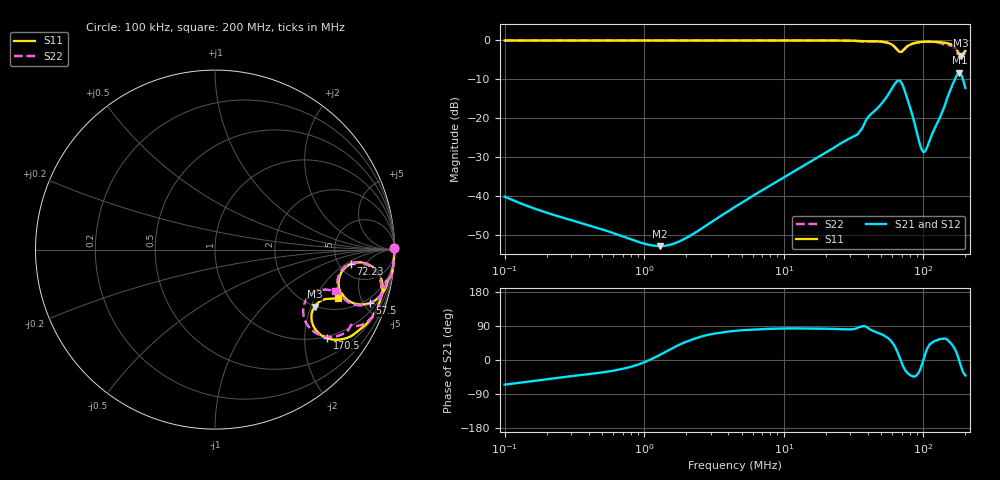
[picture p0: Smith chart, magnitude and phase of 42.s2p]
#  HZ  S  RI  R  50.00
! Rohde & Schwarz Vector Network Analyzer
! Rohde-Schwarz,ZNLE6-2Port,1323001256200024,1.71.1.10-23.02.1.238
! Created: UTC 4/7/2025, 3:17:45 AM
! freq[Hz]  re:S11  im:S11  re:S21  im:S21  re:S12  im:S12  re:S22  im:S22
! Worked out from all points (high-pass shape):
!   1001 points, 100 kHz to 200 MHz, reference 50 ohm
!   highest |S21| = -8.25 dB at 181.2 MHz (marker M1); lowest = -52.9 dB at 1.296 MHz (marker M2)
!   |S21| within 3 dB of the highest: 62.21 MHz to 70.51 MHz (8.296 MHz wide, 12.5 % of centre); 162.4 MHz to 196.4 MHz (34.07 MHz wide, 19 % of centre)
!   lowest |S11| = -3.9 dB at 185.4 MHz (marker M3), VSWR 4.54, Z = 98.9 - j106 ohm
!   |S11| at or under -10 dB: nowhere
!   |S22| runs from -4.7 to 0.0 dB; largest |S21 - S12| = 0.01
!   S11 on the Smith chart (normalised r, x): 100 kHz: open; 57.5 MHz: 1.55, -5.51; 72.23 MHz: 6.37, -2.44; 170.5 MHz: 0.95, -2.57; 200 MHz: 2.63, -3.14
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100000  0.996 0.00869  0.00415 -0.00889  0.00417 -0.00891  0.996 0.0086
355854.1  0.9965 0.00193  0.00347 -0.00285  0.00347 -0.00286  0.9967 0.00188
1266322  0.9978 -0.00358  0.00223 0.000459  0.00223 0.000457  0.9979 -0.00384
1295529  0.9978 -0.0037  0.00221 0.000531  0.00222 0.000531  0.9979 -0.00398
1923538  0.998 -0.00677  0.00195 0.00199  0.00195 0.002  0.9982 -0.00712
4472136  0.9981 -0.0186  0.00166 0.00708  0.00172 0.00705  0.9983 -0.0194
1.591428e7  0.9954 -0.068  0.00343 0.0282  0.00366 0.0281  0.9954 -0.0716
3.351876e7  0.9754 -0.1563  0.0064 0.0612  0.0065 0.0609  0.9664 -0.1657
4.754834e7  0.9439 -0.2267  0.0441 0.1309  0.0466 0.1293  0.9413 -0.2256
5.663162e7  0.8735 -0.2938  0.1167 0.1723  0.12 0.1689  0.87 -0.296
5.74991e7  0.8614 -0.2989  0.1288 0.1751  0.1321 0.1715  0.8576 -0.3013
6.592947e7  0.6987 -0.2381  0.2912 0.0881  0.2946 0.0788  0.6922 -0.237
7.222574e7  0.7555 -0.0808  0.2331 -0.0826  0.2313 -0.0882  0.7485 -0.0806
8.156587e7  0.887 -0.1031  0.0948 -0.0829  0.0929 -0.0858  0.8813 -0.1066
9.495745e7  0.9329 -0.197  0.0407 -0.0186  0.0404 -0.0198  0.9272 -0.2084
1.009107e8  0.9323 -0.2339  0.0367 0.00327  0.0369 0.00244  0.9256 -0.2486
1.420639e8  0.829 -0.4277  0.0794 0.1201  0.0807 0.1178  0.7691 -0.4223
1.568184e8  0.7556 -0.4835  0.1668 0.1668  0.1683 0.1616  0.732 -0.4581
1.704937e8  0.6247 -0.4933  0.3059 0.1367  0.3071 0.1276  0.5885 -0.4776
1.811826e8  0.5369 -0.3792  0.3865 -0.0182  0.385 -0.0283  0.4908 -0.3469
1.853616e8  0.5548 -0.3175  0.3622 -0.096  0.3596 -0.1056  0.5099 -0.277
2e8  0.6845 -0.2721  0.1851 -0.1603  0.1828 -0.1656  0.6712 -0.2331
